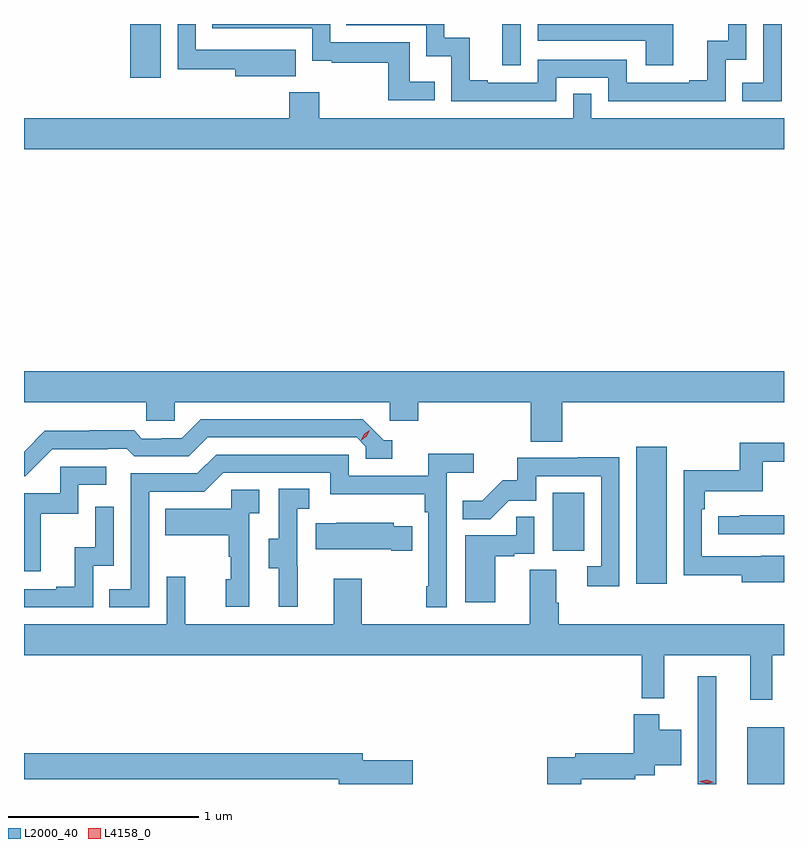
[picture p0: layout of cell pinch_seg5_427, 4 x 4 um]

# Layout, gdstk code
import gdstk
lib = gdstk.Library(unit=1e-6, precision=1e-09)
def R(c, l, rs):  # rectangles x0, y0, x1, y1
    for r in rs: c.add(gdstk.rectangle(r[:2], r[2:], *l))
def P(c, l, *ps):  # polygons
    for p in ps: c.add(gdstk.Polygon(p, *l))
L2000_40 = (2000, 40)
L4158_0 = (4158, 0)

pinch_seg5_427 = lib.new_cell('pinch_seg5_427')
R(pinch_seg5_427, L2000_40, [(889.401,866.739,889.498,867.307), (889.661,866.739,889.854,867.037), (889.076,867.792,889.237,868.513), (888.638,867.966,888.802,868.273), (886.412,870.456,886.573,870.739), (888.371,870.522,888.468,870.739)])
P(pinch_seg5_427, L2000_40, [(888.017,870.436),(887.883,870.436),(887.883,870.642),(887.466,870.642),(887.466,870.739),(886.845,870.739),(886.845,870.717),(887.37,870.717),(887.37,870.545),(887.473,870.545),(887.473,870.534),(887.772,870.534),(887.772,870.339),(888.017,870.339)],
  [(889.842,870.739),(889.746,870.739),(889.746,870.429),(889.633,870.429),(889.633,870.333),(889.842,870.333)],
  [(888.654,870.456),(888.93,870.456),(888.93,870.333),(889.548,870.333),(889.548,870.552),(889.656,870.552),(889.656,870.739),(889.56,870.739),(889.56,870.65),(889.451,870.65),(889.451,870.442),(889.355,870.442),(889.355,870.429),(889.026,870.429),(889.026,870.552),(888.558,870.552),(888.558,870.429),(888.295,870.429),(888.295,870.442),(888.199,870.442),(888.199,870.667),(888.066,870.667),(888.066,870.739),(887.551,870.739),(887.551,870.732),(887.97,870.732),(887.97,870.569),(888.102,870.569),(888.102,870.333),(888.654,870.333)],
  [(887.285,870.604),(887.071,870.604),(887.071,870.603),(886.758,870.603),(886.758,870.739),(886.662,870.739),(886.662,870.502),(886.967,870.502),(886.967,870.464),(887.285,870.464)],
  [(889.271,870.739),(888.558,870.739),(888.558,870.651),(889.127,870.651),(889.127,870.522),(889.271,870.522)],
  [(889.854,870.244),(888.84,870.244),(888.84,870.371),(888.744,870.371),(888.744,870.244),(887.409,870.244),(887.409,870.379),(887.249,870.379),(887.249,870.244),(885.854,870.244),(885.854,870.08),(889.854,870.08)],
  [(888.686,868.748),(889.854,868.748),(889.854,868.912),(885.854,868.912),(885.854,868.748),(886.497,868.748),(886.497,868.65),(886.647,868.65),(886.647,868.748),(887.778,868.748),(887.778,868.65),(887.93,868.65),(887.93,868.748),(888.521,868.748),(888.521,868.54),(888.686,868.54)],
  [(886.002,868.5),(886.295,868.5),(886.295,868.503),(886.394,868.503),(886.433,868.464),(886.722,868.464),(886.821,868.563),(887.604,868.563),(887.652,868.515),(887.652,868.452),(887.791,868.452),(887.791,868.548),(887.748,868.548),(887.637,868.659),(886.784,868.659),(886.685,868.56),(886.578,868.56),(886.578,868.557),(886.475,868.557),(886.433,868.6),(886.2,868.6),(886.2,868.597),(885.964,868.597),(885.854,868.487),(885.854,868.359),(885.861,868.359)],
  [(889.854,867.94),(889.735,867.94),(889.735,867.939),(889.422,867.939),(889.422,868.184),(889.436,868.184),(889.436,868.28),(889.741,868.28),(889.741,868.435),(889.854,868.435),(889.854,868.536),(889.62,868.536),(889.62,868.39),(889.326,868.39),(889.326,867.838),(889.631,867.838),(889.631,867.8),(889.854,867.8)],
  [(886.512,868.278),(886.803,868.278),(886.902,868.377),(887.466,868.377),(887.466,868.265),(887.962,868.265),(887.962,868.169),(887.982,868.169),(887.982,867.781),(887.97,867.781),(887.97,867.669),(888.078,867.669),(888.078,868.376),(888.22,868.376),(888.22,868.478),(887.981,868.478),(887.981,868.362),(887.562,868.362),(887.562,868.473),(886.865,868.473),(886.766,868.374),(886.416,868.374),(886.416,867.765),(886.303,867.765),(886.303,867.669),(886.512,867.669)],
  [(888.987,868.46),(888.769,868.46),(888.769,868.455),(888.451,868.455),(888.451,868.338),(888.374,868.338),(888.267,868.231),(888.163,868.231),(888.163,868.132),(888.307,868.132),(888.405,868.23),(888.549,868.23),(888.549,868.359),(888.891,868.359),(888.891,867.885),(888.819,867.885),(888.819,867.78),(888.987,867.78)],
  [(885.941,868.161),(886.14,868.161),(886.14,868.314),(886.288,868.314),(886.288,868.41),(886.044,868.41),(886.044,868.269),(885.854,868.269),(885.854,867.858),(885.941,867.858)],
  [(887.294,867.885),(887.292,867.885),(887.292,868.189),(887.356,868.189),(887.356,868.292),(887.196,868.292),(887.196,868.029),(887.141,868.029),(887.141,867.874),(887.195,867.874),(887.195,867.672),(887.294,867.672)],
  [(887.04,868.163),(887.092,868.163),(887.092,868.287),(886.944,868.287),(886.944,868.189),(886.597,868.189),(886.597,868.049),(886.932,868.049),(886.932,867.935),(886.942,867.935),(886.942,867.816),(886.916,867.816),(886.916,867.672),(887.04,867.672)],
  [(886.218,867.888),(886.326,867.888),(886.326,868.198),(886.23,868.198),(886.23,867.986),(886.121,867.986),(886.121,867.778),(886.025,867.778),(886.025,867.765),(885.854,867.765),(885.854,867.669),(886.218,867.669)],
  [(889.854,868.154),(889.621,868.154),(889.621,868.149),(889.509,868.149),(889.509,868.053),(889.854,868.053)],
  [(888.334,867.939),(888.434,867.939),(888.434,867.951),(888.54,867.951),(888.54,868.145),(888.445,868.145),(888.445,868.047),(888.176,868.047),(888.176,867.696),(888.334,867.696)],
  [(887.897,868.096),(887.799,868.096),(887.799,868.114),(887.497,868.114),(887.497,868.111),(887.389,868.111),(887.389,867.974),(887.786,867.974),(887.786,867.967),(887.897,867.967)],
  [(889.793,867.416),(889.854,867.416),(889.854,867.58),(888.668,867.58),(888.668,867.692),(888.655,867.692),(888.655,867.866),(888.515,867.866),(888.515,867.58),(887.631,867.58),(887.631,867.82),(887.483,867.82),(887.483,867.58),(886.703,867.58),(886.703,867.829),(886.605,867.829),(886.605,867.58),(885.854,867.58),(885.854,867.416),(889.105,867.416),(889.105,867.191),(889.223,867.191),(889.223,867.416),(889.676,867.416),(889.676,867.183),(889.793,867.183)],
  [(888.786,866.764),(889.07,866.764),(889.07,866.784),(889.173,866.784),(889.173,866.837),(889.312,866.837),(889.312,867.025),(889.198,867.025),(889.198,867.106),(889.064,867.106),(889.064,866.9),(888.754,866.9),(888.754,866.88),(888.608,866.88),(888.608,866.739),(888.786,866.739)],
  [(887.899,866.864),(887.638,866.864),(887.638,866.9),(885.854,866.9),(885.854,866.764),(887.51,866.764),(887.51,866.739),(887.899,866.739)])
P(pinch_seg5_427, L4158_0, [(887.628,868.549),(887.628,868.549),(887.644,868.582),(887.674,868.602),(887.674,868.602),(887.674,868.601),(887.659,868.569),(887.629,868.549)],
  [(889.447,866.741),(889.412,866.752),(889.411,866.753),(889.412,866.753),(889.448,866.761),(889.483,866.749),(889.483,866.749),(889.483,866.749)])

lib.write_gds('pinch_seg5_427.gds')
